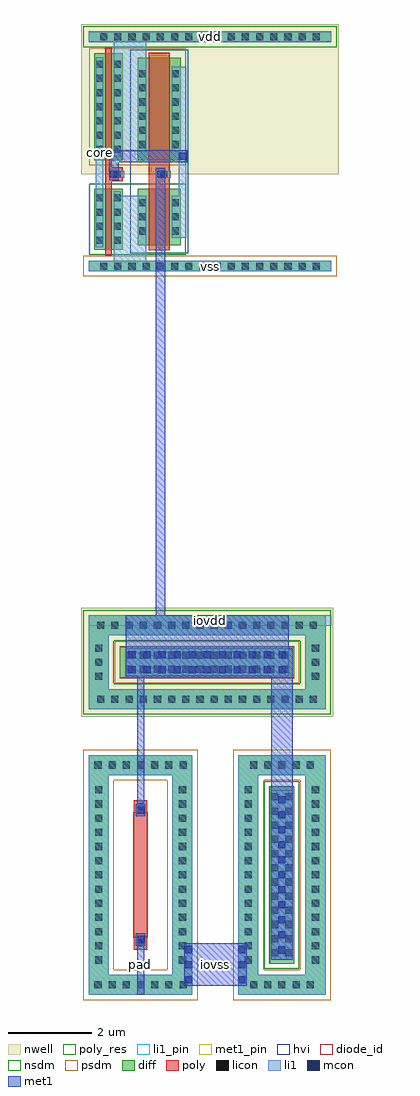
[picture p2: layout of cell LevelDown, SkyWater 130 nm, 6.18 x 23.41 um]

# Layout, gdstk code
import gdstk
lib = gdstk.Library(unit=1e-6, precision=1e-09)
def R(c, l, rs):  # rectangles x0, y0, x1, y1
    for r in rs: c.add(gdstk.rectangle(r[:2], r[2:], *l))
def A(c, l, x, y, w, h, nx, ny, dx, dy):  # array of equal rectangles
    R(c, l, [(x+i*dx, y+j*dy, x+i*dx+w, y+j*dy+h) for i in range(nx) for j in range(ny)])
def P(c, l, *ps):  # polygons
    for p in ps: c.add(gdstk.Polygon(p, *l))
nwell = (64, 20)
diff = (65, 20)
poly_res = (66, 13)
poly = (66, 20)
licon = (66, 44)
li1_pin = (67, 16)
li1 = (67, 20)
mcon = (67, 44)
met1_pin = (68, 16)
met1 = (68, 20)
hvi = (75, 20)
diode_id = (81, 23)
nsdm = (93, 44)
psdm = (94, 20)

secondaryprotection = lib.new_cell('SecondaryProtection')
R(secondaryprotection, nwell, [(-0.18,6.67,5.86,9.28)])
R(secondaryprotection, diff, [(4.34,0.75,4.93,5), (0.75,7.6,4.93,8.35)])
P(secondaryprotection, diff, [(0,0),(0,5.27),(0.48,5.27),(0.48,0.48),(2.01,0.48),(2.01,5.27),(0,5.27),(0,5.75),(2.49,5.75),(2.49,0)],
  [(3.59,0),(3.59,5.27),(4.07,5.27),(4.07,0.48),(5.2,0.48),(5.2,5.27),(3.59,5.27),(3.59,5.75),(5.68,5.75),(5.68,0)],
  [(0,6.85),(0,8.62),(0.48,8.62),(0.48,7.33),(5.2,7.33),(5.2,8.62),(0,8.62),(0,9.1),(5.68,9.1),(5.68,6.85)])
R(secondaryprotection, poly_res, [(1.075,1.375,1.415,4.375)])
R(secondaryprotection, poly, [(1.08,1.08,1.41,4.67)])
A(secondaryprotection, licon, 0.14, 0.155, 0.17, 0.17, 7, 2, 0.34, 5.27)
A(secondaryprotection, licon, 3.87, 0.155, 0.17, 0.17, 5, 2, 0.34, 5.27)
A(secondaryprotection, licon, 0.155, 0.75, 0.17, 0.17, 1, 13, 0, 0.34)
A(secondaryprotection, licon, 2.165, 0.75, 0.17, 0.17, 1, 13, 0, 0.34)
A(secondaryprotection, licon, 3.745, 0.75, 0.17, 0.17, 1, 13, 0, 0.34)
A(secondaryprotection, licon, 5.355, 0.75, 0.17, 0.17, 1, 13, 0, 0.34)
A(secondaryprotection, licon, 4.38, 0.92, 0.17, 0.17, 1, 12, 0, 0.34)
A(secondaryprotection, licon, 4.72, 0.92, 0.17, 0.17, 1, 12, 0, 0.34)
A(secondaryprotection, licon, 0.205, 7.005, 0.17, 0.17, 16, 2, 0.34, 1.77)
A(secondaryprotection, licon, 0.155, 7.55, 0.17, 0.17, 1, 3, 0, 0.34)
A(secondaryprotection, licon, 5.355, 7.55, 0.17, 0.17, 1, 3, 0, 0.34)
A(secondaryprotection, licon, 0.885, 7.72, 0.17, 0.17, 12, 2, 0.34, 0.34)
R(secondaryprotection, licon, [(1.16,1.16,1.33,1.33), (1.16,4.42,1.33,4.59)])
R(secondaryprotection, li1, [(4.38,0.84,4.89,4.91), (1.16,1.08,1.33,1.41), (1.16,4.34,1.33,4.67), (0.885,7.64,4.795,8.31)])
P(secondaryprotection, li1, [(0,0),(0,5.27),(0.48,5.27),(0.48,0.48),(2.01,0.48),(2.01,5.27),(0,5.27),(0,5.75),(2.49,5.75),(2.49,0)],
  [(3.59,0),(3.59,5.27),(4.07,5.27),(4.07,0.48),(5.2,0.48),(5.2,5.27),(3.59,5.27),(3.59,5.75),(5.68,5.75),(5.68,0)],
  [(0,6.85),(0,8.62),(0.48,8.62),(0.48,7.33),(5.2,7.33),(5.2,8.62),(0,8.62),(0,9.1),(5.68,9.1),(5.68,6.85)])
A(secondaryprotection, mcon, 2.32, 0.28, 0.17, 0.17, 1, 3, 0, 0.36)
A(secondaryprotection, mcon, 3.59, 0.28, 0.17, 0.17, 1, 3, 0, 0.36)
A(secondaryprotection, mcon, 4.55, 0.99, 0.17, 0.17, 1, 11, 0, 0.36)
A(secondaryprotection, mcon, 0.955, 7.71, 0.17, 0.17, 11, 2, 0.36, 0.36)
R(secondaryprotection, mcon, [(1.16,1.24,1.33,1.41), (1.16,4.34,1.33,4.51)])
R(secondaryprotection, met1_pin, [(1.16,0,1.33,1.47), (2.29,0.22,3.79,1.23), (0.885,7.64,4.795,9.1)])
R(secondaryprotection, met1, [(2.29,0.22,3.79,1.23)])
P(secondaryprotection, met1, [(1.16,0),(1.16,1.18),(1.13,1.18),(1.13,1.47),(1.36,1.47),(1.36,1.18),(1.33,1.18),(1.33,0)],
  [(4.38,0.84),(4.38,7.64),(1.33,7.64),(1.33,4.57),(1.36,4.57),(1.36,4.28),(1.13,4.28),(1.13,4.57),(1.16,4.57),(1.16,7.64),(0.885,7.64),(0.885,9.1),(4.795,9.1),(4.795,8.31),(4.89,8.31),(4.89,0.84)])
R(secondaryprotection, diode_id, [(4.335,0.745,4.935,5.005), (0.745,7.595,4.935,8.355)])
R(secondaryprotection, nsdm, [(4.215,0.625,5.055,5.125)])
P(secondaryprotection, nsdm, [(-0.125,6.725),(-0.125,8.495),(0.605,8.495),(0.605,7.455),(5.075,7.455),(5.075,8.495),(-0.125,8.495),(-0.125,9.225),(5.805,9.225),(5.805,6.725)])
R(secondaryprotection, psdm, [(0.625,7.475,5.055,8.475)])
P(secondaryprotection, psdm, [(-0.125,-0.125),(-0.125,5.145),(0.605,5.145),(0.605,0.605),(1.885,0.605),(1.885,5.145),(-0.125,5.145),(-0.125,5.875),(2.615,5.875),(2.615,-0.125)],
  [(3.465,-0.125),(3.465,5.145),(4.195,5.145),(4.195,0.605),(5.075,0.605),(5.075,5.145),(3.465,5.145),(3.465,5.875),(5.805,5.875),(5.805,-0.125)])
secondaryprotection.add(gdstk.Label('pad', (1.245,0.735), layer=68, texttype=16))
secondaryprotection.add(gdstk.Label('core', (2.84,8.37), layer=68, texttype=16))
secondaryprotection.add(gdstk.Label('iovss', (3.04,0.725), layer=68, texttype=16))
secondaryprotection.add(gdstk.Label('pad', (1.245,0.735), layer=68, texttype=16))
secondaryprotection.add(gdstk.Label('core', (2.84,8.37), layer=68, texttype=16))
secondaryprotection.add(gdstk.Label('iovss', (3.04,0.725), layer=68, texttype=16))

leveldown = lib.new_cell('LevelDown')
R(leveldown, nwell, [(-0.18,10.7,6,14.305)])
R(leveldown, diff, [(0,8.375,5.82,8.625), (0.135,8.895,0.815,10.355), (1.175,9.005,2.205,10.355), (0.135,11.04,0.815,13.6), (1.175,11.04,2.205,13.49), (0,13.875,5.82,14.125)])
R(leveldown, poly, [(1.44,8.875,1.94,13.62)])
P(leveldown, poly, [(0.4,8.765),(0.4,13.73),(0.55,13.73),(0.55,10.865),(0.82,10.865),(0.82,10.535),(0.55,10.535),(0.55,8.765)])
A(leveldown, licon, 0.275, 8.415, 0.17, 0.17, 16, 2, 0.34, 5.5)
A(leveldown, licon, 0.175, 9.03, 0.17, 0.17, 1, 4, 0, 0.34)
A(leveldown, licon, 0.605, 9.03, 0.17, 0.17, 1, 4, 0, 0.34)
A(leveldown, licon, 1.215, 9.255, 0.17, 0.17, 1, 3, 0, 0.34)
A(leveldown, licon, 1.995, 9.255, 0.17, 0.17, 1, 3, 0, 0.34)
A(leveldown, licon, 0.175, 11.215, 0.17, 0.17, 1, 7, 0, 0.34)
A(leveldown, licon, 0.605, 11.215, 0.17, 0.17, 1, 7, 0, 0.34)
A(leveldown, licon, 1.215, 11.33, 0.17, 0.17, 1, 6, 0, 0.34)
A(leveldown, licon, 1.995, 11.33, 0.17, 0.17, 1, 6, 0, 0.34)
R(leveldown, licon, [(0.6,10.615,0.77,10.785), (1.72,10.615,1.89,10.785)])
R(leveldown, li1_pin, [(0,-0.13,5.82,0.13), (0,8.37,5.82,8.63), (0.175,8.95,0.345,13.505), (0,13.87,5.82,14.13)])
R(leveldown, li1, [(0,-0.13,5.82,0.13), (0.175,8.95,0.345,13.505), (0.52,10.615,0.85,10.785), (1.64,10.615,1.97,10.785)])
P(leveldown, li1, [(0,8.37),(0,8.63),(0.605,8.63),(0.605,10.3),(0.775,10.3),(0.775,10.185),(1.385,10.185),(1.385,8.63),(5.82,8.63),(5.82,8.37)],
  [(1.995,9.175),(1.995,10.185),(2.165,10.185),(2.165,11.25),(1.995,11.25),(1.995,13.28),(2.335,13.28),(2.335,9.175)],
  [(0.605,11.135),(0.605,13.87),(0,13.87),(0,14.13),(5.82,14.13),(5.82,13.87),(1.385,13.87),(1.385,11.25),(0.775,11.25),(0.775,11.135)])
R(leveldown, mcon, [(0.52,10.615,0.69,10.785), (1.64,10.615,1.81,10.785), (2.165,11.045,2.335,11.215)])
R(leveldown, met1_pin, [(1.16,-8.975,1.33,-7.505), (2.29,-8.755,3.79,-7.745)])
R(leveldown, met1, [(1.16,-8.975,1.33,-7.505), (2.29,-8.755,3.79,-7.745), (1.61,0.125,1.84,10.845)])
P(leveldown, met1, [(0.49,10.555),(0.49,11.275),(2.365,11.275),(2.365,10.985),(0.72,10.985),(0.72,10.555)])
R(leveldown, hvi, [(0.995,8.805,2.385,13.69)])
R(leveldown, nsdm, [(0.01,8.77,2.33,10.48), (-0.125,13.75,5.945,14.25)])
R(leveldown, psdm, [(-0.125,8.25,5.945,8.75), (0.01,10.915,2.33,13.725)])
leveldown.add(gdstk.Reference(secondaryprotection, (0,-8.975)))
leveldown.add(gdstk.Reference(secondaryprotection, (0,-8.975)))
leveldown.add(gdstk.Label('core', (0.26,11.228), layer=67, texttype=16))
leveldown.add(gdstk.Label('vss', (2.91,8.5), layer=67, texttype=16))
leveldown.add(gdstk.Label('vdd', (2.91,14), layer=67, texttype=16))
leveldown.add(gdstk.Label('iovdd', (2.91,0), layer=67, texttype=16))
leveldown.add(gdstk.Label('core', (0.26,11.228), layer=67, texttype=16))
leveldown.add(gdstk.Label('vss', (2.91,8.5), layer=67, texttype=16))
leveldown.add(gdstk.Label('vdd', (2.91,14), layer=67, texttype=16))
leveldown.add(gdstk.Label('iovdd', (2.91,0), layer=67, texttype=16))
leveldown.add(gdstk.Label('pad', (1.245,-8.24), layer=68, texttype=16))
leveldown.add(gdstk.Label('iovss', (3.04,-8.25), layer=68, texttype=16))
leveldown.add(gdstk.Label('pad', (1.245,-8.24), layer=68, texttype=16))
leveldown.add(gdstk.Label('iovss', (3.04,-8.25), layer=68, texttype=16))

lib.write_gds('LevelDown.gds')
